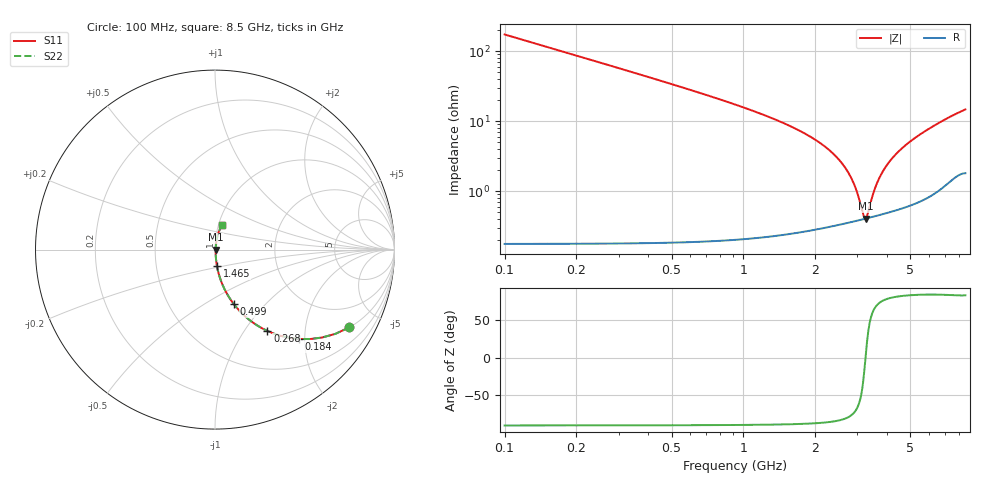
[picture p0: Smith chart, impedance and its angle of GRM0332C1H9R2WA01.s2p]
!Murata Part Number: GRM0332C1H9R2WA01
!These Parameters are Measured in Series Mode Connection
!Data Generated on Mar 30, 2021
!  o--ll--o
!Port1  Port2
!  o------o
!Operation Temp=25[degC], DC Bias Voltage=0[V]
!Freq. Start=100[MHz] Stop=9[GHz] 401[Steps]
# Hz S RI R 50
!Freq.(Hz) S11(Real) S11(Imag) S21(Real) S21(Imag) S12(Real) S12(Imag) S22(Real) S22(Imag)
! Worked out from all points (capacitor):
!   401 points, 100 MHz to 8.5 GHz, reference 50 ohm
!   read as one part in series: C = 9.2 pF near 142 MHz
!   lowest |Z| = 404 mohm at 3.25 GHz (marker M1)
!   series resonance near 3.245 GHz, so ESL is about 260 pH
!   S11 on the Smith chart (normalised r, x): 100 MHz: 1.00, -3.46; 184 MHz: 1.00, -1.87; 268 MHz: 1.00, -1.28; 499 MHz: 1.00, -0.68; 1.465 GHz: 1.00, -0.19; 8.5 GHz: 1.04, +0.29
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1e8  0.749 -0.4331  0.251 0.4331  0.251 0.4331  0.749 -0.4331
1.84e8  0.4677 -0.498  0.5323 0.498  0.5323 0.498  0.4677 -0.498
2.68e8  0.2918 -0.4532  0.7082 0.4532  0.7082 0.4532  0.2918 -0.4532
3.73e8  0.1742 -0.3773  0.8258 0.3773  0.8258 0.3773  0.1742 -0.3773
4.99e8  0.1041 -0.3028  0.8959 0.3028  0.8959 0.3028  0.1041 -0.3028
8.77e8  0.0342 -0.1764  0.9658 0.1764  0.9658 0.1764  0.0342 -0.1764
1.465e9  0.0111 -0.093  0.9889 0.093  0.9889 0.093  0.0111 -0.093
1.507e9  0.0104 -0.0891  0.9896 0.0891  0.9896 0.0891  0.0104 -0.0891
2.41e9  0.00422 -0.0322  0.9958 0.0322  0.9958 0.0322  0.00422 -0.0322
2.704e9  0.00385 -0.0197  0.9962 0.0197  0.9962 0.0197  0.00385 -0.0197
2.914e9  0.00381 -0.0116  0.9962 0.0116  0.9962 0.0116  0.00381 -0.0116
3.187e9  0.00396 -0.00194  0.996 0.00194  0.996 0.00194  0.00396 -0.00194
3.25e9  0.00402 0.000175  0.996 -0.000175  0.996 -0.000175  0.00402 0.000175
3.313e9  0.00409 0.00225  0.9959 -0.00225  0.9959 -0.00225  0.00409 0.00225
3.523e9  0.00439 0.00894  0.9956 -0.00894  0.9956 -0.00894  0.00439 0.00894
3.691e9  0.00469 0.0141  0.9953 -0.0141  0.9953 -0.0141  0.00469 0.0141
3.964e9  0.00528 0.0221  0.9947 -0.0221  0.9947 -0.0221  0.00528 0.0221
4.3e9  0.00619 0.0315  0.9938 -0.0315  0.9938 -0.0315  0.00619 0.0315
4.909e9  0.00832 0.0478  0.9917 -0.0478  0.9917 -0.0478  0.00832 0.0478
5.707e9  0.0122 0.0685  0.9878 -0.0685  0.9878 -0.0685  0.0122 0.0685
7.114e9  0.0235 0.1045  0.9765 -0.1045  0.9765 -0.1045  0.0235 0.1045
8.5e9  0.0373 0.1377  0.9627 -0.1377  0.9627 -0.1377  0.0373 0.1377
